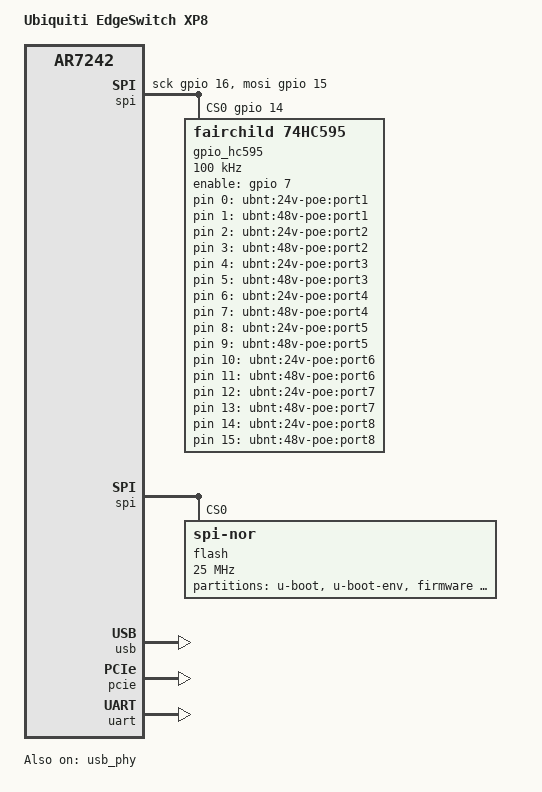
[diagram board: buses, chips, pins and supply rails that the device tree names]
// SPDX-License-Identifier: GPL-2.0-or-later OR MIT
/dts-v1/;

#include <dt-bindings/gpio/gpio.h>
#include <dt-bindings/input/input.h>

#include "ar7242_ubnt_sw.dtsi"

/ {
	compatible = "ubnt,edgeswitch-xp8", "qca,ar7242";
	model = "Ubiquiti EdgeSwitch XP8";

	chosen {
		bootargs = "console=ttyS0,115200n8";
	};


	spi {
		compatible = "spi-gpio";
		#address-cells = <0x1>;
		ranges;

		gpio-sck = <&gpio 16 GPIO_ACTIVE_HIGH>;
		gpio-mosi = <&gpio 15 GPIO_ACTIVE_HIGH>;
		cs-gpios = <&gpio 14 GPIO_ACTIVE_HIGH>;
		num-chipselects = <1>;

		gpio_hc595: gpio_spi@0 {
			compatible = "fairchild,74hc595";
			reg = <0>;
			registers-number = <2>;
			spi-max-frequency = <100000>;
			enable-gpios = <&gpio 7 GPIO_ACTIVE_HIGH>;

			gpio-controller;
			#gpio-cells = <2>;

		};
	};


	gpio_poe: gpio-export {
		compatible = "gpio-export";

		poe_24v_port1 {
			gpio-export,name = "ubnt:24v-poe:port1";
			gpio-export,output = <0>;
			gpios = <&gpio_hc595 0 GPIO_ACTIVE_HIGH>;
		};

		poe_48v_port1 {
			gpio-export,name = "ubnt:48v-poe:port1";
			gpio-export,output = <0>;
			gpios = <&gpio_hc595 1 GPIO_ACTIVE_HIGH>;
		};

		poe_24v_port2 {
			gpio-export,name = "ubnt:24v-poe:port2";
			gpio-export,output = <0>;
			gpios = <&gpio_hc595 2 GPIO_ACTIVE_HIGH>;
		};

		poe_48v_port2 {
			gpio-export,name = "ubnt:48v-poe:port2";
			gpio-export,output = <0>;
			gpios = <&gpio_hc595 3 GPIO_ACTIVE_HIGH>;
		};

		poe_24v_port3 {
			gpio-export,name = "ubnt:24v-poe:port3";
			gpio-export,output = <0>;
			gpios = <&gpio_hc595 4 GPIO_ACTIVE_HIGH>;
		};

		poe_48v_port3 {
			gpio-export,name = "ubnt:48v-poe:port3";
			gpio-export,output = <0>;
			gpios = <&gpio_hc595 5 GPIO_ACTIVE_HIGH>;
		};

		poe_24v_port4 {
			gpio-export,name = "ubnt:24v-poe:port4";
			gpio-export,output = <0>;
			gpios = <&gpio_hc595 6 GPIO_ACTIVE_HIGH>;
		};

		poe_48v_port4 {
			gpio-export,name = "ubnt:48v-poe:port4";
			gpio-export,output = <0>;
			gpios = <&gpio_hc595 7 GPIO_ACTIVE_HIGH>;
		};

		poe_24v_port5 {
			gpio-export,name = "ubnt:24v-poe:port5";
			gpio-export,output = <0>;
			gpios = <&gpio_hc595 8 GPIO_ACTIVE_HIGH>;
		};

		poe_48v_port5 {
			gpio-export,name = "ubnt:48v-poe:port5";
			gpio-export,output = <0>;
			gpios = <&gpio_hc595 9 GPIO_ACTIVE_HIGH>;
		};

		poe_24v_port6 {
			gpio-export,name = "ubnt:24v-poe:port6";
			gpio-export,output = <0>;
			gpios = <&gpio_hc595 10 GPIO_ACTIVE_HIGH>;
		};

		poe_48v_port6 {
			gpio-export,name = "ubnt:48v-poe:port6";
			gpio-export,output = <0>;
			gpios = <&gpio_hc595 11 GPIO_ACTIVE_HIGH>;
		};

		poe_24v_port7 {
			gpio-export,name = "ubnt:24v-poe:port7";
			gpio-export,output = <0>;
			gpios = <&gpio_hc595 12 GPIO_ACTIVE_HIGH>;
		};

		poe_48v_port7 {
			gpio-export,name = "ubnt:48v-poe:port7";
			gpio-export,output = <0>;
			gpios = <&gpio_hc595 13 GPIO_ACTIVE_HIGH>;
		};

		poe_24v_port8 {
			gpio-export,name = "ubnt:24v-poe:port8";
			gpio-export,output = <0>;
			gpios = <&gpio_hc595 14 GPIO_ACTIVE_HIGH>;
		};

		poe_48v_port8 {
			gpio-export,name = "ubnt:48v-poe:port8";
			gpio-export,output = <0>;
			gpios = <&gpio_hc595 15 GPIO_ACTIVE_HIGH>;
		};
	};
};

&spi {
	status = "okay";

	num-cs = <1>;

	flash@0 {
		compatible = "jedec,spi-nor";
		reg = <0>;
		spi-max-frequency = <25000000>;

		partitions {
			compatible = "fixed-partitions";
			#address-cells = <1>;
			#size-cells = <1>;

			uboot: partition@0 {
				reg = <0x000000 0x040000>;
				label = "u-boot";
				read-only;
			};

			uboot_env: partition@40000 {
				reg = <0x040000 0x010000>;
				label = "u-boot-env";
				read-only;
			};

			firmware: partition@50000 {
				compatible = "denx,uimage";
				reg = <0x050000 0x760000>;
				label = "firmware";
			};

			cfg: partition@7b0000 {
				reg = <0x7b0000 0x040000>;
				label = "cfg";
				read-only;
			};

			art: partition@7f0000 {
				reg = <0x7f0000 0x010000>;
				label = "art";
				read-only;
			};
		};
	};
};

&usb_phy {
	status = "okay";
};

&usb {
	#address-cells = <1>;
	#size-cells = <0>;
	status = "okay";

	hub_port: port@1 {
		reg = <1>;
		#trigger-source-cells = <0>;
	};
};

&pcie {
	status = "okay";
};

&uart {
	status = "okay";
};
